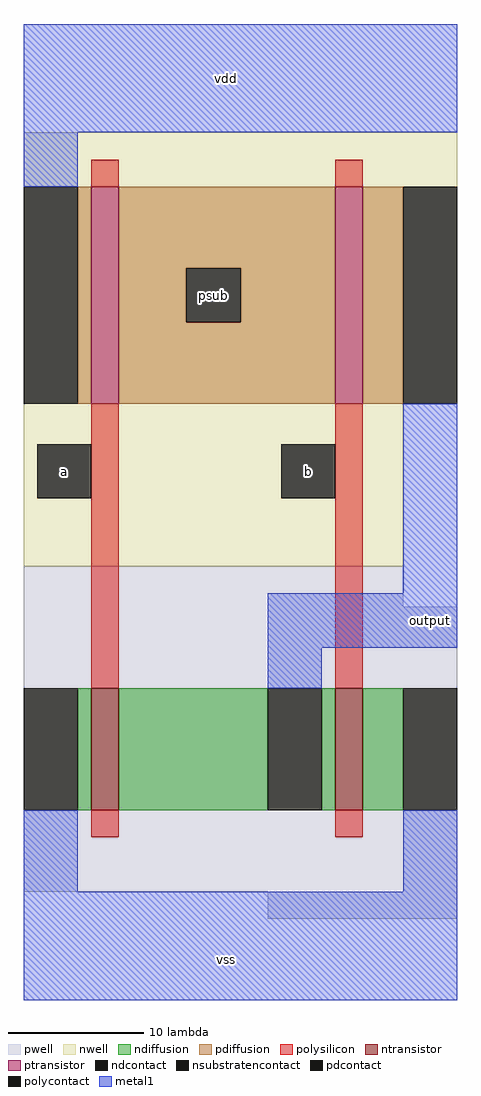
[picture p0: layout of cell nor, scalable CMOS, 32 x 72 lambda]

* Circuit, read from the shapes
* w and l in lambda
.subckt nor a b output psub vdd vss
M1 output a vss VSUBS nfet w=9 l=2
M2 vss b output VSUBS nfet w=9 l=2
M3 psub a vdd psub pfet w=16 l=2
M4 output b psub psub pfet w=16 l=2
.ends

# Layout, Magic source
magic
tech scmos
<< pwell >>
rect 0 29 28 32
rect 0 8 32 29
rect 18 6 32 8
<< nwell >>
rect 0 44 32 64
rect 0 32 28 44
<< polysilicon >>
rect 5 60 7 62
rect 23 60 25 62
rect 5 23 7 44
rect 23 23 25 44
rect 5 12 7 14
rect 23 12 25 14
<< ndiffusion >>
rect 4 14 5 23
rect 7 14 18 23
rect 22 14 23 23
rect 25 14 28 23
<< pdiffusion >>
rect 4 44 5 60
rect 7 54 23 60
rect 7 50 12 54
rect 16 50 23 54
rect 7 44 23 50
rect 25 44 28 60
<< metal1 >>
rect 0 64 32 72
rect 0 60 4 64
rect 28 30 32 44
rect 18 26 32 30
rect 18 23 22 26
rect 0 8 4 14
rect 28 8 32 14
rect 0 0 32 8
<< ntransistor >>
rect 5 14 7 23
rect 23 14 25 23
<< ptransistor >>
rect 5 44 7 60
rect 23 44 25 60
<< polycontact >>
rect 1 37 5 41
rect 19 37 23 41
<< ndcontact >>
rect 0 14 4 23
rect 18 14 22 23
rect 28 14 32 23
<< pdcontact >>
rect 0 44 4 60
rect 28 44 32 60
<< nsubstratencontact >>
rect 12 50 16 54
<< labels >>
rlabel metal1 15 68 15 68 5 vdd
rlabel polycontact 3 39 3 39 3 a
rlabel polycontact 21 39 21 39 1 b
rlabel metal1 15 3 15 3 1 vss
rlabel metal1 30 28 30 28 7 output
rlabel nsubstratencontact 14 52 14 52 1 psub
<< end >>
